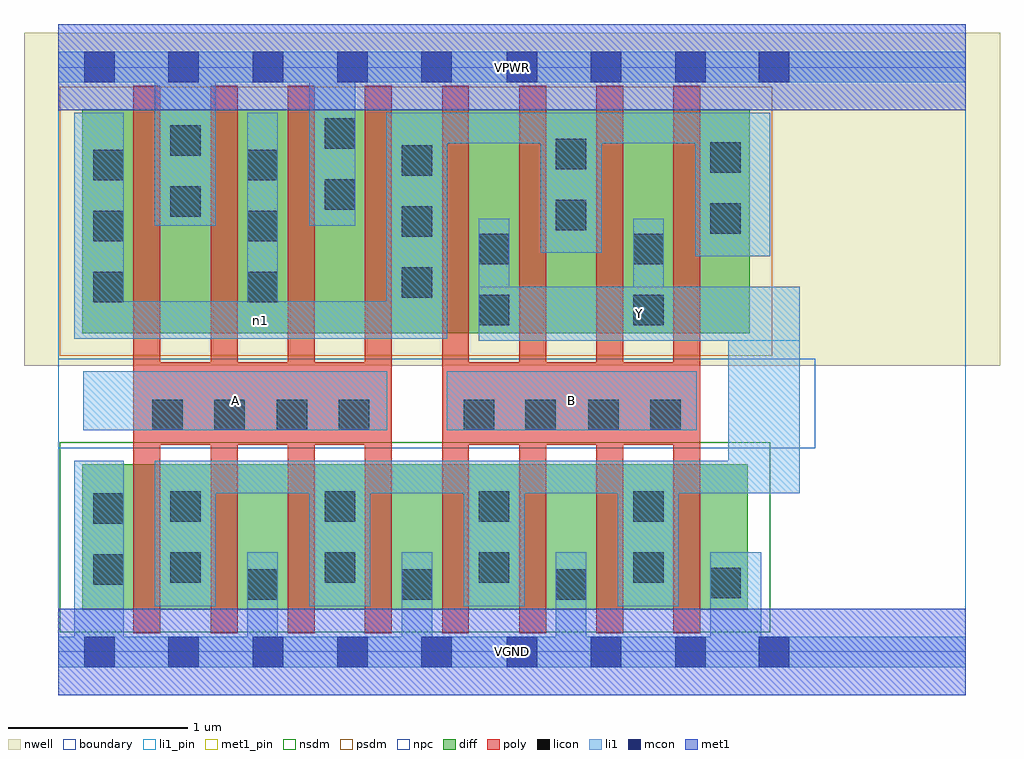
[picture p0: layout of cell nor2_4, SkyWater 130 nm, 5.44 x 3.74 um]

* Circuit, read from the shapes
.subckt nor2_4 A B VGND VPWR Y n1
XM1 Y A VGND VSUBS sky130_fd_pr__nfet_01v8 w=0.81 l=0.15 m=4
XM2 Y B VGND VSUBS sky130_fd_pr__nfet_01v8 w=0.81 l=0.15 m=4
XM3 VPWR A n1 n2 sky130_fd_pr__pfet_01v8 w=1.25 l=0.15 m=4
XM4 Y B n1 n2 sky130_fd_pr__pfet_01v8 w=1.25 l=0.15 m=4
.ends

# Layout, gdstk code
import gdstk
lib = gdstk.Library(unit=1e-6, precision=1e-09)
def R(c, l, rs):  # rectangles x0, y0, x1, y1
    for r in rs: c.add(gdstk.rectangle(r[:2], r[2:], *l))
def A(c, l, x, y, w, h, nx, ny, dx, dy):  # array of equal rectangles
    R(c, l, [(x+i*dx, y+j*dy, x+i*dx+w, y+j*dy+h) for i in range(nx) for j in range(ny)])
nwell = (64, 20)
diff = (65, 20)
poly = (66, 20)
licon = (66, 44)
li1_pin = (67, 16)
li1 = (67, 20)
mcon = (67, 44)
met1_pin = (68, 16)
met1 = (68, 20)
nsdm = (93, 44)
psdm = (94, 20)
npc = (95, 20)
boundary = (235, 4)

nor2_4 = lib.new_cell('nor2_4')
R(nor2_4, nwell, [(-0.19,1.595,5.25,3.45), (0,1.595,5.06,3.45)])
R(nor2_4, diff, [(0.135,0.235,3.845,1.045), (0.135,1.775,3.855,3.025)])
A(nor2_4, poly, 0.42, 0.105, 0.15, 3.05, 8, 1, 0.43, 0)
R(nor2_4, poly, [(0.42,1.155,1.86,1.615), (2.14,1.155,3.58,1.615)])
A(nor2_4, licon, 1.055, 0.29, 0.17, 0.17, 3, 1, 0.86, 0)
A(nor2_4, licon, 0.625, 0.385, 0.17, 0.17, 4, 2, 0.86, 0.34)
A(nor2_4, licon, 0.195, 1.95, 0.17, 0.17, 1, 3, 0, 0.34)
A(nor2_4, licon, 1.055, 1.95, 0.17, 0.17, 1, 3, 0, 0.34)
A(nor2_4, licon, 1.915, 1.975, 0.17, 0.17, 1, 3, 0, 0.34)
R(nor2_4, licon, [(3.635,0.3,3.805,0.47), (0.195,0.375,0.365,0.545), (0.195,0.715,0.365,0.885), (0.525,1.235,0.695,1.405), (0.87,1.235,1.04,1.405), (1.22,1.235,1.39,1.405), (1.565,1.235,1.735,1.405), (2.26,1.235,2.43,1.405), (2.605,1.235,2.775,1.405), (2.955,1.235,3.125,1.405), (3.3,1.235,3.47,1.405), (2.345,1.82,2.515,1.99), (3.205,1.82,3.375,1.99), (2.345,2.16,2.515,2.33), (3.205,2.16,3.375,2.33), (3.635,2.33,3.805,2.5), (2.775,2.35,2.945,2.52), (0.625,2.425,0.795,2.595), (1.485,2.465,1.655,2.635), (3.635,2.67,3.805,2.84), (2.775,2.69,2.945,2.86), (0.625,2.765,0.795,2.935), (1.485,2.805,1.655,2.975)])
R(nor2_4, li1_pin, [(0.14,1.235,1.835,1.565), (2.165,1.235,3.56,1.565), (2.345,1.735,4.135,2.035)])
A(nor2_4, li1, 1.055, -0.085, 0.17, 0.64, 3, 1, 0.86, 0)
A(nor2_4, li1, 0.54, 0.255, 0.34, 0.81, 4, 1, 0.86, 0)
R(nor2_4, li1, [(0,-0.085,5.06,0.085), (0.09,-0.085,0.365,1.065), (3.635,-0.085,3.92,0.555), (0.54,0.885,4.135,1.065), (3.735,0.885,4.135,2.035), (0.14,1.235,1.835,1.565), (2.165,1.235,3.56,1.565), (2.345,1.735,4.135,2.035), (2.345,1.735,2.515,2.415), (3.205,1.735,3.375,2.415), (0.09,1.745,2.17,1.955), (0.09,1.745,0.365,3.005), (1.055,1.745,1.225,3.005), (1.83,1.745,2.17,3.005), (3.55,2.205,3.97,3.005), (2.69,2.225,3.03,3.005), (0.54,2.375,0.88,3.345), (1.4,2.375,1.655,3.345), (1.83,2.835,3.97,3.005), (0,3.175,5.06,3.345)])
A(nor2_4, mcon, 0.145, -0.085, 0.17, 0.17, 5, 2, 0.47, 3.26)
A(nor2_4, mcon, 2.5, -0.085, 0.17, 0.17, 3, 2, 0.47, 3.26)
R(nor2_4, mcon, [(3.905,-0.085,4.075,0.085), (3.905,3.175,4.075,3.345)])
R(nor2_4, met1_pin, [(0,-0.24,5.06,0.24), (0,3.02,5.06,3.5)])
R(nor2_4, met1, [(0,-0.24,5.06,0.24), (0,3.02,5.06,3.5)])
R(nor2_4, nsdm, [(0.01,0.11,3.97,1.17)])
R(nor2_4, psdm, [(0.01,1.65,3.98,3.15)])
R(nor2_4, npc, [(0,1.135,4.22,1.635)])
R(nor2_4, boundary, [(0,0,5.06,3.26)])
nor2_4.add(gdstk.Label('A', (0.987,1.4), layer=67, texttype=5))
nor2_4.add(gdstk.Label('B', (2.862,1.4), layer=67, texttype=5))
nor2_4.add(gdstk.Label('Y', (3.24,1.885), layer=67, texttype=5))
nor2_4.add(gdstk.Label('n1', (1.13,1.85), layer=67, texttype=5))
nor2_4.add(gdstk.Label('VPWR', (2.53,3.26), layer=68, texttype=5))
nor2_4.add(gdstk.Label('VGND', (2.53,0), layer=68, texttype=5))
nor2_4.add(gdstk.Label('A', (0.987,1.4), layer=67, texttype=16))
nor2_4.add(gdstk.Label('B', (2.862,1.4), layer=67, texttype=16))
nor2_4.add(gdstk.Label('Y', (3.24,1.885), layer=67, texttype=16))
nor2_4.add(gdstk.Label('VPWR', (2.53,3.26), layer=68, texttype=16))
nor2_4.add(gdstk.Label('VGND', (2.53,0), layer=68, texttype=16))

lib.write_gds('nor2_4.gds')
